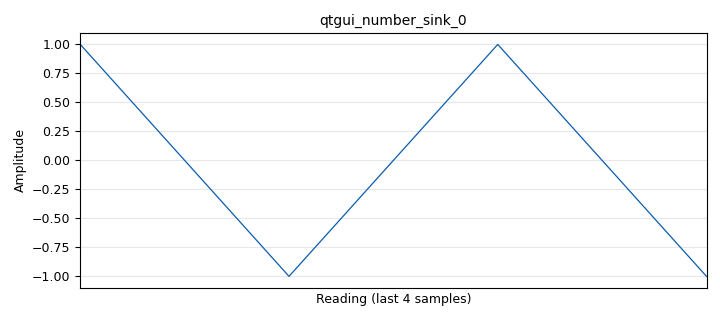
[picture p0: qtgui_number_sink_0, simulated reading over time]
options:
  parameters:
    catch_exceptions: 'False'
    generate_options: qt_gui
    id: test_serial
    output_language: python
    realtime_scheduling: '1'
    run: 'False'
    title: Not titled yet
  states: {}

blocks:
- name: samp_rate
  id: variable
  parameters:
    value: '8000'
  states: {}
- name: valor
  id: variable_qtgui_range
  parameters:
    label: Valor
    start: '-1'
    step: '0.1'
    stop: '1'
    value: '0'
    widget: slider
  states: {}
- name: analog_sig_source_x_0
  id: analog_sig_source_x
  parameters:
    amp: valor
    freq: '1000'
    offset: '0'
    phase: '0'
    samp_rate: samp_rate
    type: float
    waveform: analog.GR_CONST_WAVE
  states: {state: disabled}
- name: blocks_throttle_0
  id: blocks_throttle
  parameters:
    samples_per_second: samp_rate
    type: float
  states: {}
- name: blocks_vector_source_x_0
  id: blocks_vector_source_x
  parameters:
    repeat: 'False'
    type: float
    vector: (1, -1, 1, -1)
  states: {}
- name: qtgui_number_sink_0
  id: qtgui_number_sink
  parameters:
    avg: '1'
    graph_type: qtgui.NUM_GRAPH_NONE
    type: float
    update_time: '0.1'
  states: {}
- name: serializer_serializer_0
  id: serializer_serializer
  parameters:
    board: 'True'
    device: /dev/ttyUSB1
    mode: detector
  states: {}

connections:
- [analog_sig_source_x_0, '0', blocks_throttle_0, '0']
- [blocks_throttle_0, '0', qtgui_number_sink_0, '0']
- [blocks_throttle_0, '0', serializer_serializer_0, '0']
- [blocks_vector_source_x_0, '0', blocks_throttle_0, '0']

metadata:
  file_format: 1
